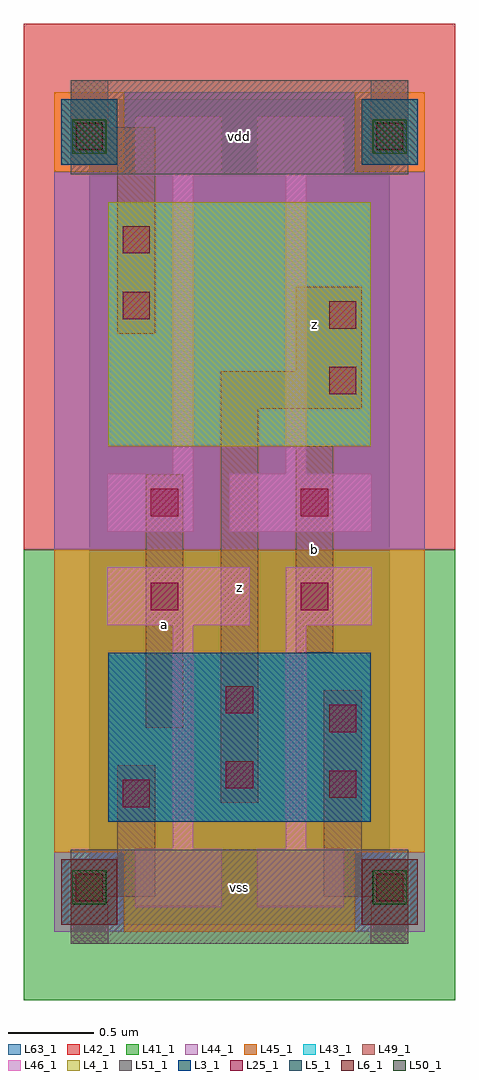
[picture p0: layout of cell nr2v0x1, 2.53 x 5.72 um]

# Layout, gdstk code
import gdstk
lib = gdstk.Library(unit=1e-6, precision=1e-09)
def R(c, l, rs):  # rectangles x0, y0, x1, y1
    for r in rs: c.add(gdstk.rectangle(r[:2], r[2:], *l))
L3_1 = (3, 1)
L4_1 = (4, 1)
L5_1 = (5, 1)
L6_1 = (6, 1)
L25_1 = (25, 1)
L41_1 = (41, 1)
L42_1 = (42, 1)
L43_1 = (43, 1)
L44_1 = (44, 1)
L45_1 = (45, 1)
L46_1 = (46, 1)
L49_1 = (49, 1)
L50_1 = (50, 1)
L51_1 = (51, 1)
L63_1 = (63, 1)

nr2v0x1 = lib.new_cell('nr2v0x1')
R(nr2v0x1, L3_1, [(0.11,0.605,1.65,1.595)])
R(nr2v0x1, L4_1, [(0.11,2.805,1.65,4.235)])
R(nr2v0x1, L5_1, [(-0.165,4.455,0.165,4.84), (1.595,4.455,1.925,4.84)])
R(nr2v0x1, L6_1, [(-0.165,0,0.165,0.385), (1.595,0,1.925,0.385)])
R(nr2v0x1, L25_1, [(-0.08,0.14,0.08,0.3), (1.68,0.14,1.84,0.3), (0.195,0.69,0.355,0.85), (1.405,0.745,1.565,0.905), (0.8,0.8,0.96,0.96), (1.405,1.13,1.565,1.29), (0.8,1.24,0.96,1.4), (0.36,1.845,0.52,2.005), (1.24,1.845,1.4,2.005), (0.36,2.395,0.52,2.555), (1.24,2.395,1.4,2.555), (1.405,3.11,1.565,3.27), (1.405,3.495,1.565,3.655), (0.195,3.55,0.355,3.71), (0.195,3.935,0.355,4.095), (-0.08,4.54,0.08,4.7), (1.68,4.54,1.84,4.7)])
R(nr2v0x1, L41_1, [(-0.385,-0.44,2.145,2.2)])
R(nr2v0x1, L42_1, [(-0.385,2.2,2.145,5.28)])
R(nr2v0x1, L43_1, [(-0.165,0,0.165,0.385), (1.595,0,1.925,0.385), (0.11,0.605,1.65,1.595), (0.11,2.805,1.65,4.235), (-0.165,4.455,0.165,4.84), (1.595,4.455,1.925,4.84)])
R(nr2v0x1, L44_1, [(-0.205,-0.04,0.205,0.425), (1.555,-0.04,1.965,0.425), (-0.205,2.2,1.965,4.415), (0.205,4.415,1.555,4.88)])
R(nr2v0x1, L45_1, [(0.205,-0.04,1.555,0.425), (-0.205,0.425,1.965,2.2), (-0.205,4.415,0.205,4.88), (1.555,4.415,1.965,4.88)])
R(nr2v0x1, L46_1, [(0.27,0.105,0.775,0.445), (0.985,0.105,1.49,0.445), (0.49,0.445,0.61,1.755), (1.15,0.445,1.27,1.755), (0.105,1.755,0.94,2.095), (1.15,1.755,1.655,2.095), (0.105,2.305,0.61,2.645), (0.82,2.305,1.655,2.645), (0.49,2.645,0.61,4.395), (1.15,2.645,1.27,4.395), (0.27,4.395,0.775,4.735), (0.985,4.395,1.49,4.735)])
R(nr2v0x1, L49_1, [(-0.11,-0.11,0.11,0.165), (1.65,-0.11,1.87,0.165), (-0.11,0.165,0.385,0.385), (1.375,0.165,1.87,0.385), (0.165,0.385,0.385,0.935), (1.375,0.385,1.595,1.375), (0.77,0.715,0.99,3.025), (0.33,1.155,0.55,2.64), (1.21,1.595,1.43,2.805), (0.77,3.025,1.595,3.245), (1.21,3.245,1.595,3.74), (0.165,3.465,0.385,4.455), (-0.11,4.455,0.385,4.675), (1.65,4.455,1.87,4.95), (-0.11,4.675,0.11,4.95)])
R(nr2v0x1, L50_1, [(-0.1,0.12,0.1,0.32), (1.66,0.12,1.86,0.32), (-0.1,4.52,0.1,4.72), (1.66,4.52,1.86,4.72)])
R(nr2v0x1, L51_1, [(-0.11,-0.11,1.87,0.44), (-0.11,4.4,1.87,4.95)])
R(nr2v0x1, L63_1, [(0,0,1.76,4.84)])
nr2v0x1.add(gdstk.Label('a', (0.44,1.76), layer=49, texttype=1))
nr2v0x1.add(gdstk.Label('z', (0.88,1.98), layer=49, texttype=1))
nr2v0x1.add(gdstk.Label('b', (1.32,2.2), layer=49, texttype=1))
nr2v0x1.add(gdstk.Label('z', (1.32,3.52), layer=49, texttype=1))
nr2v0x1.add(gdstk.Label('vss', (0.88,0.22), layer=51, texttype=1))
nr2v0x1.add(gdstk.Label('vdd', (0.88,4.62), layer=51, texttype=1))

lib.write_gds('nr2v0x1.gds')
